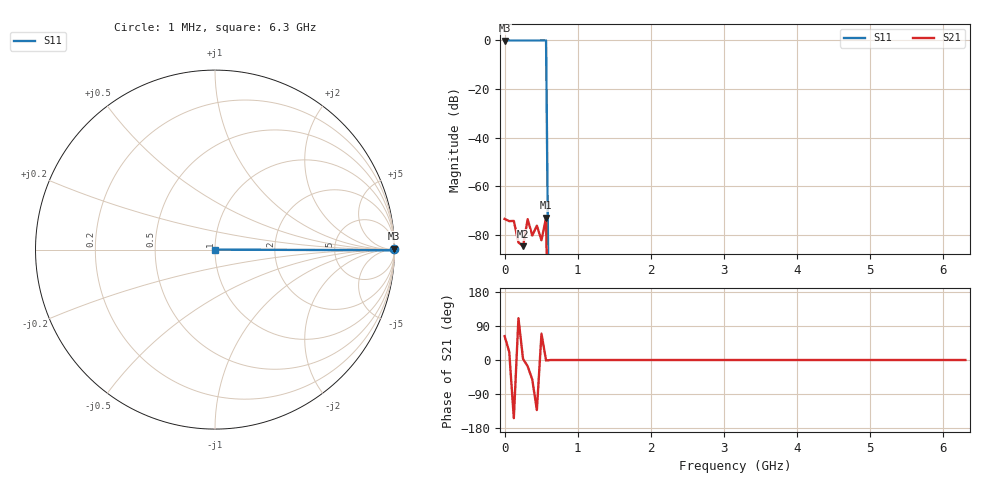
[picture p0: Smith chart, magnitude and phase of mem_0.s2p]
! NanoVNA-App by OneOfEleven et al v1.1.209 (+OD18)
! Date: 2025-04-15 10:49:00
! Start: 1MHz Stop: 6.3GHz Points: 101
! S-Parameter data: F S11 S21 S12 S22
# Hz S RI R 50
!  Frequency  S11_Real  S11_Imag  S21_Real  S21_Imag  S12_Real  S12_Imag  S22_Real  S22_Imag
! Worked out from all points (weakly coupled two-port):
!   101 points, 1 MHz to 6.3 GHz, reference 50 ohm
!   highest |S21| = -72.99 dB at 567.9 MHz (marker M1); lowest = -84.7 dB at 253 MHz (marker M2)
!   lowest |S11| = 0.0 dB at 1 MHz (marker M3), VSWR 856.25, Z = 5.93e+03 + j1.48e+04 ohm
!   |S11| at or under -10 dB: 571.1 MHz to end of sweep
!   S12 and S22 are empty: the file has one direction only
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1000000  0.9977 0.00581  9.6e-05 0.000188  0 0  0 0
6.399e7  1 0.0122  0.000177 7e-05  0 0  0 0
1.2698e8  1.001 0.0096  -0.000172 -8.6e-05  0 0  0 0
1.8997e8  0.9988 0.00936  -2.4e-05 6.5e-05  0 0  0 0
2.5296e8  0.9994 0.00119  5.8e-05 3e-06  0 0  0 0
3.1595e8  0.9993 0.000748  0.0002 -5.9e-05  0 0  0 0
3.7894e8  0.9982 0.00431  6e-05 -7.5e-05  0 0  0 0
4.4193e8  0.9993 0.0068  -0.000103 -0.000114  0 0  0 0
5.0492e8  1.001 0.00211  2.7e-05 7.2e-05  0 0  0 0
5.6791e8  1.001 -0.00372  0.000224 -5e-06  0 0  0 0
6.309e8  0 0  0 0  0 0  0 0
6.9389e8  0 0  0 0  0 0  0 0
7.5688e8  0 0  0 0  0 0  0 0
8.1987e8  0 0  0 0  0 0  0 0
8.8286e8  0 0  0 0  0 0  0 0
9.4585e8  0 0  0 0  0 0  0 0
1.07183e9  0 0  0 0  0 0  0 0
2.14266e9  0 0  0 0  0 0  0 0
3.1505e9  0 0  0 0  0 0  0 0
4.22133e9  0 0  0 0  0 0  0 0
5.29216e9  0 0  0 0  0 0  0 0
6.3e9  0 0  0 0  0 0  0 0
